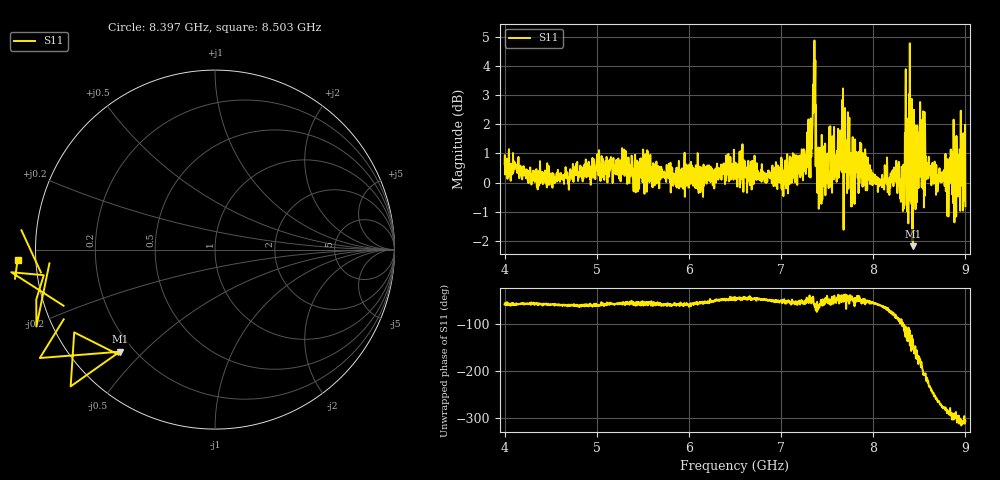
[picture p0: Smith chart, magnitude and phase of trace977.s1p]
! Created with skrf 1.8.0 (http://scikit-rf.org).
# Hz S RI R 50.0
!freq ReS11 ImS11
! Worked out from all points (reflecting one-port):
!   1601 points, 4 GHz to 9 GHz, reference 50 ohm
!   lowest |S11| = -2.2 dB at 8.431 GHz (marker M1), VSWR 8.01, Z = 7.4 - j21.3 ohm
!   phase of S11 starts at -58 deg and turns -250 deg over the sweep
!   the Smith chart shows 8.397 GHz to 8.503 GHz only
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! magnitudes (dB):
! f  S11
! 4 GHz  0.6
! 4.625 GHz  0.1
! 5.25 GHz  0.3
! 5.875 GHz  0.2
! 6.5 GHz  0.4
! 7.125 GHz  0.4
! 7.294 GHz  0.7
! 7.356 GHz  4.1
! 7.372 GHz  4.2
! 7.4 GHz  0.2
! 7.412 GHz  0.0
! 7.512 GHz  0.4
! 7.612 GHz  0.3
! 7.669 GHz  1.6
! 7.75 GHz  0.3
! 7.775 GHz  1.5
! 7.844 GHz  1.1
! 8.097 GHz  0.3
! 8.256 GHz  0.3
! 8.316 GHz  0.2
! 8.375 GHz  1.2
! 8.431 GHz  -2.2
! 8.447 GHz  1.8
! 8.522 GHz  2.1
! 8.606 GHz  0.3
! 8.875 GHz  0.1
! 8.972 GHz  0.6
! 9 GHz  -0.8
